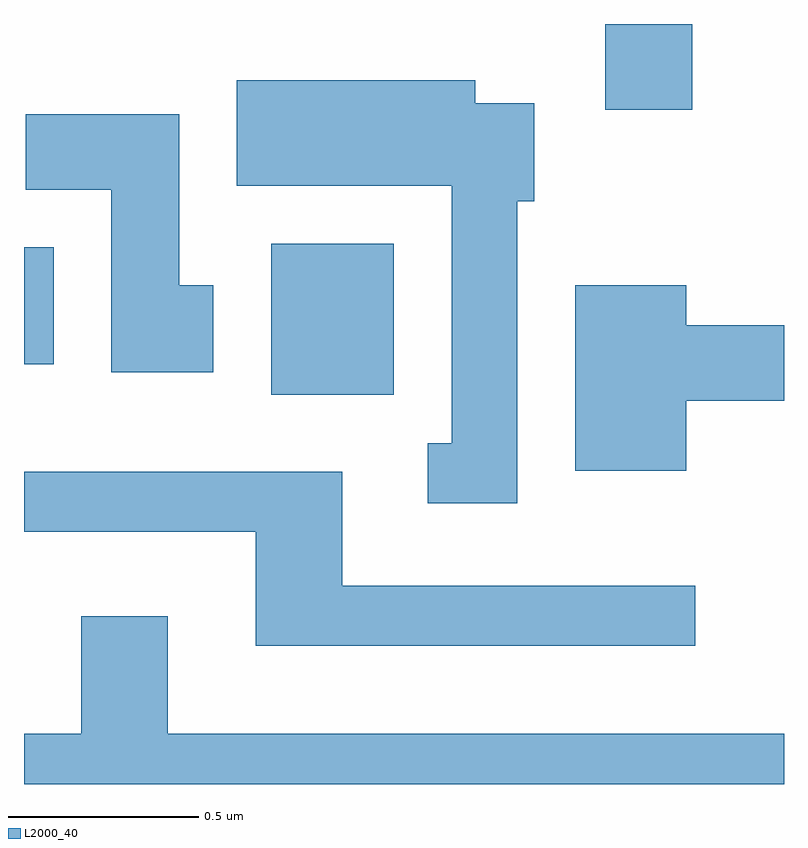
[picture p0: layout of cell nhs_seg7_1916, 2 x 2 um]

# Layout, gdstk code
import gdstk
lib = gdstk.Library(unit=1e-6, precision=1e-09)
def R(c, l, rs):  # rectangles x0, y0, x1, y1
    for r in rs: c.add(gdstk.rectangle(r[:2], r[2:], *l))
def P(c, l, *ps):  # polygons
    for p in ps: c.add(gdstk.Polygon(p, *l))
L2000_40 = (2000, 40)

nhs_seg7_1916 = lib.new_cell('nhs_seg7_1916')
R(nhs_seg7_1916, L2000_40, [(199.261,1804.276,199.584,1804.674), (198.611,1804.356,198.689,1804.664), (200.141,1805.026,200.369,1805.252)])
P(nhs_seg7_1916, L2000_40, [(199.909,1804.786),(199.954,1804.786),(199.954,1805.044),(199.799,1805.044),(199.799,1805.104),(199.171,1805.104),(199.171,1804.826),(199.736,1804.826),(199.736,1804.149),(199.673,1804.149),(199.673,1803.991),(199.909,1803.991)],
  [(199.109,1804.564),(199.019,1804.564),(199.019,1805.014),(198.616,1805.014),(198.616,1804.816),(198.841,1804.816),(198.841,1804.336),(199.109,1804.336)],
  [(200.354,1804.261),(200.611,1804.261),(200.611,1804.459),(200.354,1804.459),(200.354,1804.564),(200.061,1804.564),(200.061,1804.076),(200.354,1804.076)],
  [(200.378,1803.774),(199.449,1803.774),(199.449,1804.074),(198.611,1804.074),(198.611,1803.916),(199.221,1803.916),(199.221,1803.616),(200.378,1803.616)],
  [(200.611,1803.384),(198.989,1803.384),(198.989,1803.694),(198.761,1803.694),(198.761,1803.384),(198.611,1803.384),(198.611,1803.252),(200.611,1803.252)])

lib.write_gds('nhs_seg7_1916.gds')
